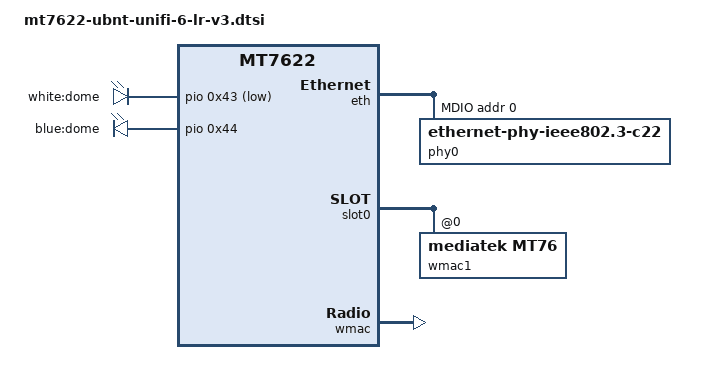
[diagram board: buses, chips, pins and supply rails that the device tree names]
#include "mt7622-ubnt-unifi-6-lr.dtsi"

/ {
	aliases {
		led-boot = &led_white;
		led-failsafe = &led_white;
		led-running = &led_blue;
		led-upgrade = &led_blue;
	};

	gpio-leds {
		compatible = "gpio-leds";

		led_white: dome_white {
			label = "white:dome";
			gpios = <&pio 0x43 GPIO_ACTIVE_LOW>;
		};

		led_blue: dome_blue {
			label = "blue:dome";
			gpios = <&pio 0x44 GPIO_ACTIVE_HIGH>;
		};
	};
};

&eth {
	status = "okay";
	pinctrl-names = "default";
	pinctrl-0 = <&eth_pins>;

	gmac0: mac@0 {
		compatible = "mediatek,eth-mac";
		reg = <0>;

		phy-mode = "sgmii";
		phy-handle = <&phy0>;
		phy-connection-type = "sgmii";
		managed = "in-band-status";
	};

	mdio: mdio-bus {
		#address-cells = <1>;
		#size-cells = <0>;

		phy0: ethernet-phy@0 {
			compatible = "ethernet-phy-ieee802.3-c22";
			reg = <0x0>;
		};
	};
};

&gmac0 {
	nvmem-cells = <&macaddr_eeprom_0>;
	nvmem-cell-names = "mac-address";
};

&slot0 {
	wmac1: wifi@0,0 {
		compatible = "mediatek,mt76";
		reg = <0x0 0 0 0 0>;
	};
};

&wmac {
	nvmem-cells = <&eeprom_factory_0>, <&macaddr_eeprom_0>;
	nvmem-cell-names = "eeprom", "mac-address";
	status = "okay";
};

&wmac1 {
	nvmem-cells = <&eeprom_factory_20000>, <&macaddr_eeprom_6>;
	nvmem-cell-names = "eeprom", "mac-address";
	ieee80211-freq-limit = <5000000 6000000>;
};
